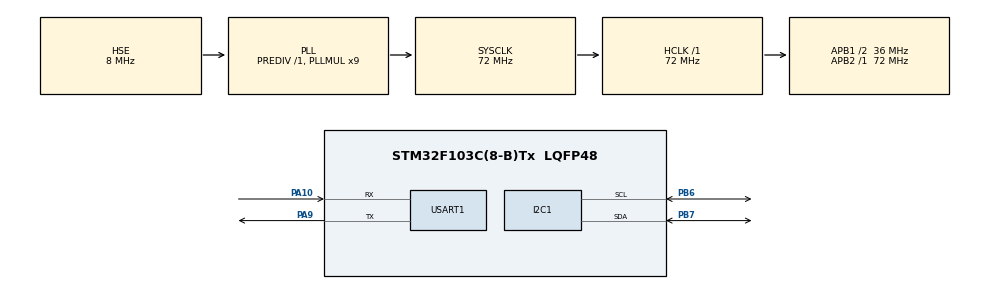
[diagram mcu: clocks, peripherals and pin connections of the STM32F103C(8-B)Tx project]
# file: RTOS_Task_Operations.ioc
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FREERTOS.INCLUDE_vTaskDelayUntil=1
FREERTOS.Tasks01=defaultTask,0,128,StartDefaultTask,Default,NULL,Dynamic,NULL,NULL
I2C1.I2C_Mode=I2C_Fast
Mcu.Family=STM32F1
Mcu.Name=STM32F103C(8-B)Tx
Mcu.Package=LQFP48
NVIC.PriorityGroup=NVIC_PRIORITYGROUP_4
NVIC.TIM1_UP_IRQn=true\:15\:0\:false\:false\:true\:false\:false\:true\:true
NVIC.TimeBase=TIM1_UP_IRQn
NVIC.TimeBaseIP=TIM1
PA10.Mode=Asynchronous
PA10.Signal=USART1_RX
PA13.Mode=Serial_Wire
PA13.Signal=SYS_JTMS-SWDIO
PA14.Mode=Serial_Wire
PA14.Signal=SYS_JTCK-SWCLK
PA9.Mode=Asynchronous
PA9.Signal=USART1_TX
PB6.Mode=I2C
PB6.Signal=I2C1_SCL
PB7.Mode=I2C
PB7.Signal=I2C1_SDA
PD0-OSC_IN.Mode=HSE-External-Oscillator
PD0-OSC_IN.Signal=RCC_OSC_IN
PD1-OSC_OUT.Mode=HSE-External-Oscillator
PD1-OSC_OUT.Signal=RCC_OSC_OUT
ProjectManager.HeapSize=0x200
ProjectManager.StackSize=0x400
ProjectManager.TargetToolchain=STM32CubeIDE
RCC.AHBFreq_Value=72000000
RCC.APB1CLKDivider=RCC_HCLK_DIV2
RCC.APB1Freq_Value=36000000
RCC.APB1TimFreq_Value=72000000
RCC.APB2Freq_Value=72000000
RCC.APB2TimFreq_Value=72000000
RCC.HCLKFreq_Value=72000000
RCC.PLLMUL=RCC_PLL_MUL9
RCC.PLLSourceVirtual=RCC_PLLSOURCE_HSE
RCC.SYSCLKFreq_VALUE=72000000
RCC.SYSCLKSource=RCC_SYSCLKSOURCE_PLLCLK
RCC.USBFreq_Value=72000000
USART1.VirtualMode=VM_ASYNC
VP_FREERTOS_VS_CMSIS_V1.Mode=CMSIS_V1
VP_SYS_VS_tim1.Mode=TIM1
board=custom

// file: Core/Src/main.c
/* USER CODE BEGIN Header */
/**
  ******************************************************************************
  * @file           : main.c
  * @brief          : Main program body
  ******************************************************************************
  * @attention
  *
  * Copyright (c) 2025 STMicroelectronics.
  * All rights reserved.
  *
  * This software is licensed under terms that can be found in the LICENSE file
  * in the root directory of this software component.
  * If no LICENSE file comes with this software, it is provided AS-IS.
  *
  ******************************************************************************
  */
/* USER CODE END Header */
#include "main.h"
#include "cmsis_os.h"

/* USER CODE BEGIN Includes */
#include "stdio.h"
#include "string.h"
#include "stdlib.h"
#include "RTC.h"
#include "ssd1306.h"

/* USER CODE END Includes */

I2C_HandleTypeDef hi2c1;

UART_HandleTypeDef huart1;

/* USER CODE BEGIN PV */
xTaskHandle RTCTaskHandle;
xTaskHandle SSD1306TaskHandle;
xQueueHandle DateTimeQueueHandle;
DateTime_HandleTypeDef DateTimeHandle;
/* USER CODE END PV */

void SystemClock_Config(void);
static void MX_GPIO_Init(void);
static void MX_USART1_UART_Init(void);
static void MX_I2C1_Init(void);

/* USER CODE BEGIN PFP */
void StartRTCTask(void *argument);
void StartSSD1306Task(void *argument);
/* USER CODE END PFP */

int main(void)
{

  /* MCU Configuration--------------------------------------------------------*/

  /* Reset of all peripherals, Initializes the Flash interface and the Systick. */
  HAL_Init();

  /* Configure the system clock */
  SystemClock_Config();

  /* Initialize all configured peripherals */
  MX_GPIO_Init();
  MX_USART1_UART_Init();
  MX_I2C1_Init();
  /* USER CODE BEGIN 2 */
  RTC_Init(&DateTimeHandle, &hi2c1);
//  DateTimeHandle.dateTime.date = 23;
//  DateTimeHandle.dateTime.month = 7;
//  DateTimeHandle.dateTime.year = 25;
//  DateTimeHandle.dateTime.hour = 16;
//  DateTimeHandle.dateTime.minute = 10;
//  DateTimeHandle.dateTime.second = 00;
//  SetTime(&DateTimeHandle);
  ssd1306_Init();
  ssd1306_ClearScreen();
//  uint8_t message[] = "SSD1306 initialized successfully";
//  ssd1306_PutString(message);

  DateTimeQueueHandle = xQueueCreate(5, sizeof(DateTime_HandleTypeDef));

  uint8_t status = 0;

  status = xTaskCreate(StartRTCTask, "RTC Task", 128, NULL, 4, &RTCTaskHandle);
  configASSERT(status == pdPASS);

  status = xTaskCreate(StartSSD1306Task, "SSD1306 Task", 128, NULL, 3, &SSD1306TaskHandle);
  configASSERT(status == pdPASS);

  vTaskStartScheduler();
  /* USER CODE END 2 */

  /* Create the thread(s) */
  /* definition and creation of defaultTask */

  /* We should never get here as control is now taken by the scheduler */
  /* Infinite loop */
  while (1)
  {

  }
}

void SystemClock_Config(void)
{
  RCC_OscInitTypeDef RCC_OscInitStruct = {0};
  RCC_ClkInitTypeDef RCC_ClkInitStruct = {0};

  /** Initializes the RCC Oscillators according to the specified parameters
  * in the RCC_OscInitTypeDef structure.
  */
  RCC_OscInitStruct.OscillatorType = RCC_OSCILLATORTYPE_HSE;
  RCC_OscInitStruct.HSEState = RCC_HSE_ON;
  RCC_OscInitStruct.HSEPredivValue = RCC_HSE_PREDIV_DIV1;
  RCC_OscInitStruct.HSIState = RCC_HSI_ON;
  RCC_OscInitStruct.PLL.PLLState = RCC_PLL_ON;
  RCC_OscInitStruct.PLL.PLLSource = RCC_PLLSOURCE_HSE;
  RCC_OscInitStruct.PLL.PLLMUL = RCC_PLL_MUL9;
  if (HAL_RCC_OscConfig(&RCC_OscInitStruct) != HAL_OK)
  {
    Error_Handler();
  }

  /** Initializes the CPU, AHB and APB buses clocks
  */
  RCC_ClkInitStruct.ClockType = RCC_CLOCKTYPE_HCLK|RCC_CLOCKTYPE_SYSCLK
                              |RCC_CLOCKTYPE_PCLK1|RCC_CLOCKTYPE_PCLK2;
  RCC_ClkInitStruct.SYSCLKSource = RCC_SYSCLKSOURCE_PLLCLK;
  RCC_ClkInitStruct.AHBCLKDivider = RCC_SYSCLK_DIV1;
  RCC_ClkInitStruct.APB1CLKDivider = RCC_HCLK_DIV2;
  RCC_ClkInitStruct.APB2CLKDivider = RCC_HCLK_DIV1;

  if (HAL_RCC_ClockConfig(&RCC_ClkInitStruct, FLASH_LATENCY_2) != HAL_OK)
  {
    Error_Handler();
  }
}

static void MX_I2C1_Init(void)
{

  hi2c1.Instance = I2C1;
  hi2c1.Init.ClockSpeed = 400000;
  hi2c1.Init.DutyCycle = I2C_DUTYCYCLE_2;
  hi2c1.Init.OwnAddress1 = 0;
  hi2c1.Init.AddressingMode = I2C_ADDRESSINGMODE_7BIT;
  hi2c1.Init.DualAddressMode = I2C_DUALADDRESS_DISABLE;
  hi2c1.Init.OwnAddress2 = 0;
  hi2c1.Init.GeneralCallMode = I2C_GENERALCALL_DISABLE;
  hi2c1.Init.NoStretchMode = I2C_NOSTRETCH_DISABLE;
  if (HAL_I2C_Init(&hi2c1) != HAL_OK)
  {
    Error_Handler();
  }

}

static void MX_USART1_UART_Init(void)
{

  huart1.Instance = USART1;
  huart1.Init.BaudRate = 115200;
  huart1.Init.WordLength = UART_WORDLENGTH_8B;
  huart1.Init.StopBits = UART_STOPBITS_1;
  huart1.Init.Parity = UART_PARITY_NONE;
  huart1.Init.Mode = UART_MODE_TX_RX;
  huart1.Init.HwFlowCtl = UART_HWCONTROL_NONE;
  huart1.Init.OverSampling = UART_OVERSAMPLING_16;
  if (HAL_UART_Init(&huart1) != HAL_OK)
  {
    Error_Handler();
  }

}

static void MX_GPIO_Init(void)
{

  /* GPIO Ports Clock Enable */
  __HAL_RCC_GPIOD_CLK_ENABLE();
  __HAL_RCC_GPIOA_CLK_ENABLE();
  __HAL_RCC_GPIOB_CLK_ENABLE();

}

/* USER CODE BEGIN 4 */

void StartRTCTask(void *argument)
{
	while (1)
	{
		uint8_t message[50] = "RTC task begin\n";
		HAL_UART_Transmit(&huart1, message, strlen((char*)message), HAL_MAX_DELAY);
		GetTime(&DateTimeHandle);

		if (xQueueSend(DateTimeQueueHandle, &DateTimeHandle, portMAX_DELAY) == pdPASS)
		{
			uint8_t message[50] = "RTC sent successfully\n";
			HAL_UART_Transmit(&huart1, message, strlen((char*)message), HAL_MAX_DELAY);
		}
		vTaskDelay(pdMS_TO_TICKS(1000));
	}
}

void StartSSD1306Task(void *argument)
{
	while (1)
	{
		DateTime_HandleTypeDef dateTime;
		uint8_t message[50] = "SSD1306 task begin\n";
		HAL_UART_Transmit(&huart1, message, strlen((char*)message), HAL_MAX_DELAY);

		if (xQueueReceive(DateTimeQueueHandle, &dateTime, portMAX_DELAY) == pdPASS)
		{
			uint8_t time[50];
			uint8_t linebreak = '\n';
			sprintf((char*)time, "%02d:%02d:%02d", DateTimeHandle.dateTime.hour, DateTimeHandle.dateTime.minute, DateTimeHandle.dateTime.second);
			HAL_UART_Transmit(&huart1, time, strlen((char*)time), HAL_MAX_DELAY);
			HAL_UART_Transmit(&huart1, &linebreak, 1, HAL_MAX_DELAY);
			//ssd1306_ClearScreen();
			ssd1306_GoToPage(2);
			ssd1306_PageIndentedBy(2);
			ssd1306_PutString(time);
			sprintf((char*)time, "%02d/%02d/%02d", DateTimeHandle.dateTime.date, DateTimeHandle.dateTime.month, DateTimeHandle.dateTime.year);
			HAL_UART_Transmit(&huart1, time, strlen((char*)time), HAL_MAX_DELAY);
			HAL_UART_Transmit(&huart1, &linebreak, 1, HAL_MAX_DELAY);

			ssd1306_GoToPage(3);
			ssd1306_PageIndentedBy(2);
			ssd1306_PutString(time);
		}
		vTaskDelay(pdMS_TO_TICKS(500));
	}
}
/* USER CODE END 4 */

void HAL_TIM_PeriodElapsedCallback(TIM_HandleTypeDef *htim)
{
  if (htim->Instance == TIM1) {
    HAL_IncTick();
  }
}

void Error_Handler(void)
{
  __disable_irq();
  while (1)
  {
  }
}
